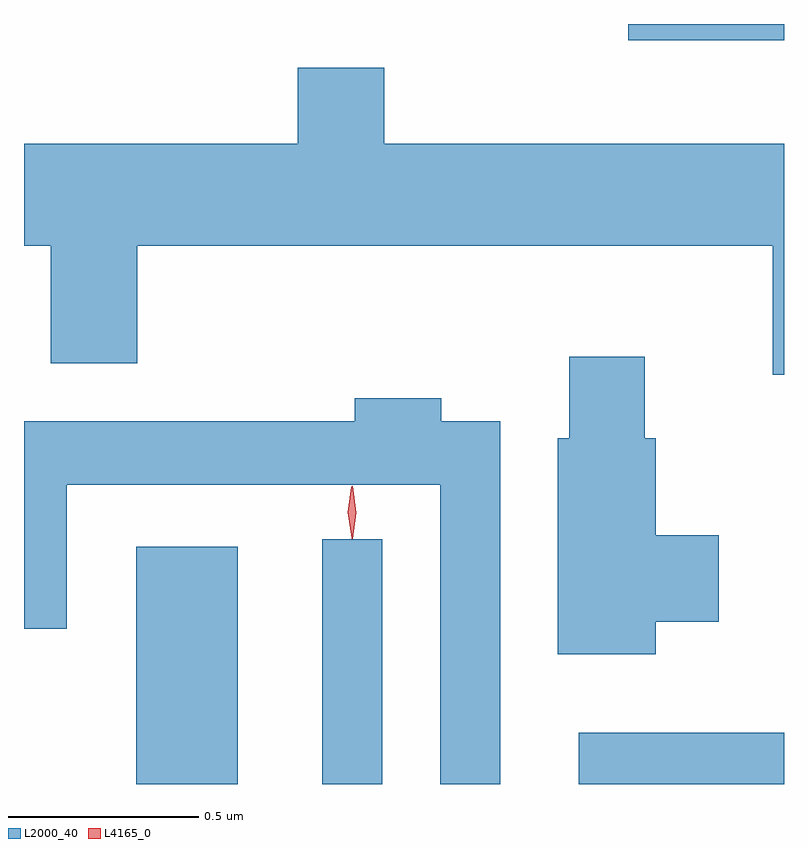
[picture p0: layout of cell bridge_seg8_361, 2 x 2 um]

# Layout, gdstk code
import gdstk
lib = gdstk.Library(unit=1e-6, precision=1e-09)
def R(c, l, rs):  # rectangles x0, y0, x1, y1
    for r in rs: c.add(gdstk.rectangle(r[:2], r[2:], *l))
def P(c, l, *ps):  # polygons
    for p in ps: c.add(gdstk.Polygon(p, *l))
L2000_40 = (2000, 40)
L4165_0 = (4165, 0)

bridge_seg8_361 = lib.new_cell('bridge_seg8_361')
R(bridge_seg8_361, L2000_40, [(726.236,1919.359,726.504,1919.984), (726.726,1919.359,726.884,1920.003), (727.401,1919.359,727.941,1919.494), (727.531,1921.316,727.941,1921.359)])
P(bridge_seg8_361, L2000_40, [(727.941,1921.044),(726.889,1921.044),(726.889,1921.244),(726.661,1921.244),(726.661,1921.044),(725.941,1921.044),(725.941,1920.776),(726.011,1920.776),(726.011,1920.466),(726.239,1920.466),(726.239,1920.776),(727.911,1920.776),(727.911,1920.436),(727.941,1920.436)],
  [(727.604,1919.786),(727.769,1919.786),(727.769,1920.014),(727.604,1920.014),(727.604,1920.269),(727.574,1920.269),(727.574,1920.484),(727.376,1920.484),(727.376,1920.269),(727.346,1920.269),(727.346,1919.701),(727.604,1919.701)],
  [(727.194,1920.314),(727.039,1920.314),(727.039,1920.374),(726.811,1920.374),(726.811,1920.314),(725.941,1920.314),(725.941,1919.768),(726.054,1919.768),(726.054,1920.146),(727.036,1920.146),(727.036,1919.359),(727.194,1919.359)])
P(bridge_seg8_361, L4165_0, [(726.804,1920.004),(726.795,1920.073),(726.804,1920.142),(726.805,1920.143),(726.806,1920.142),(726.815,1920.073),(726.806,1920.004),(726.805,1920.004)],
  [(726.803,1920.007),(726.803,1920.007),(726.793,1920.074),(726.802,1920.14),(726.803,1920.14),(726.803,1920.14),(726.813,1920.074),(726.804,1920.007)])

lib.write_gds('bridge_seg8_361.gds')
